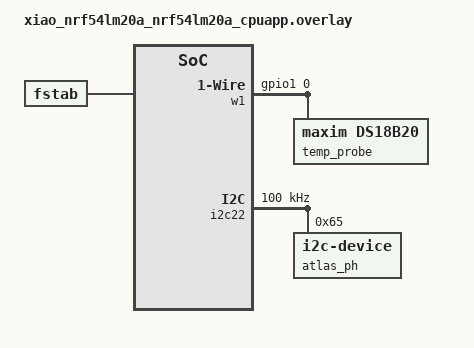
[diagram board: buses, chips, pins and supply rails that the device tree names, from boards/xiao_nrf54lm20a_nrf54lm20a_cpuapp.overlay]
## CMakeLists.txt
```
# Copyright (c) 2026 Brian Wischmeyer
# SPDX-License-Identifier: Apache-2.0

cmake_minimum_required(VERSION 3.20.0)

# Do not add a boards/<board>.overlay *and* rely on app.overlay: Zephyr's
# CMake stops after the boards overlay, so app.overlay is ignored. LittleFS
# fstab lives in boards/xiao_nrf54lm20a_nrf54lm20a_cpuapp.overlay.

find_package(Zephyr REQUIRED HINTS $ENV{ZEPHYR_BASE})
project(xiao_ph)

target_sources(app PRIVATE
  src/main.c
  src/credentials.c
  src/ble_peripheral.c
  src/fatal_error.c
  src/fw_update.c
  src/ph_oem.c
  src/temp_sensor.c
  src/battery.c
  src/bat_runtime.c
  src/status_led.c
  src/power_sleep.c
  src/golioth_ph.c
  src/ph_shell.c
)
```

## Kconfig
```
# Copyright (c) 2026 Brian Wischmeyer
# SPDX-License-Identifier: Apache-2.0

config NCS_APPLICATION_BOOT_BANNER_STRING
    string
    default "XIAO nRF54LM20A pH Sensor"

source "$ZEPHYR_BASE/Kconfig"

menu "XIAO nRF54LM20A pH Sensor"

config EXAMPLE_SYNC_PERIOD_S
    int "Gateway sync period (s)"
    default 30
    range 5 3600
    help
      After a sync (or a missed advertise window), keep the radio off this
      long before advertising again. A pH sample is taken and uplinked once
      per successful sync. Overridable at runtime by SAMPLE_INTERVAL_S.

config EXAMPLE_ADV_WINDOW_S
    int "Gateway advertise window (s)"
    default 15
    range 5 300
    help
      How long to advertise with sync_req set while looking for a Pouch
      gateway. If nothing connects, the radio stops and the node sleeps
      for EXAMPLE_SYNC_PERIOD_S.

config EXAMPLE_ADV_RETRIES
    int "Advertise retries after a failed connect"
    default 2
    range 0 8
    help
      Extra advertise windows after a connect that never reaches a Pouch
      session (bond mismatch, instant drop). 0 sleeps immediately.

config EXAMPLE_CREDENTIALS_DIR
    string "Directory containing credentials"
    default "/lfs1/credentials"
    help
      LittleFS directory holding the DER-encoded device certificate
      (crt.der) and private key (key.der).

config EXAMPLE_FW_UPDATE_COMPONENT
    string "OTA component name"
    default "xiao_ph"
    help
      Name of the component in the Golioth OTA manifest used for firmware
      updates on this device.

config APP_BT_AUTO_CONFIRM
    bool "Auto-confirm Just Works BLE pairing"
    default y
    help
      The XIAO nRF54LM20A has no dedicated confirm button, so by default the
      app auto-confirms the pairing passkey when a gateway connects.

config PH_OEM_I2C_ADDR
    hex "Atlas pH OEM I2C address"
    default 0x65
    help
      Default Atlas Scientific pH OEM address. Only used if the devicetree
      node is missing a reg property.

config PH_OEM_READ_TIMEOUT_MS
    int "pH conversion timeout (ms)"
    default 1500
    range 500 5000
    help
      Atlas conversions take ~420 ms. Poll the new-reading register until
      this timeout.

config PH_DEFAULT_TEMP_C
    int "Default compensation temperature (0.01 C)"
    default 2500
    help
      Used when no DS18B20 is present and TEMP_OVERRIDE_C is unset.
      2500 = 25.00 C.

config SAMPLE_PRINT
    bool "Print pH and battery on the serial console"
    default n
    help
      Periodic USB printk of Atlas pH and nPM1300 readings. Off by
      default so the node is not polling I2C/1-Wire while waiting for
      a Pouch sync. Toggle at runtime with "ph log on" / "ph log off".
      Stream uplink still samples once per gateway sync.

config SAMPLE_PRINT_PERIOD_S
    int "Local pH + battery print period (s)"
    default 5
    range 1 3600
    help
      How often to print Atlas pH and nPM1300 battery measurements on
      the serial console when local logging is enabled. Independent of
      Pouch/Golioth sync.

endmenu
```

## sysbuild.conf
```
# Copyright (c) 2026 Brian Wischmeyer
# SPDX-License-Identifier: Apache-2.0
#
# Build MCUboot alongside the app so Golioth OTA can swap firmware images.
SB_CONFIG_BOOTLOADER_MCUBOOT=y
```

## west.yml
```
# Copyright (c) 2026 Brian Wischmeyer
# SPDX-License-Identifier: Apache-2.0
#
# West manifest for the XIAO nRF54LM20A pH-sensor application.
#
# T3 topology: this repo is the manifest. Pouch's west-ncs.yml pulls the nRF
# Connect SDK at the revision Pouch v0.2.0 is tested against.
#
# From a directory that contains this folder:
#   west init -l xiao_ph
#   west update
#   west zephyr-export
#   pip install -r modules/lib/pouch/requirements.txt
#
# Or from inside this folder (standalone workspace):
#   west init -l .
#   west update
#   west zephyr-export
#   pip install -r modules/lib/pouch/requirements.txt

manifest:
  remotes:
    - name: golioth
      url-base: https://github.com/golioth

  projects:
    - name: pouch
      remote: golioth
      revision: v0.2.0
      path: modules/lib/pouch
      import: west-ncs.yml

  self:
    path: .
```

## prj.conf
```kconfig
# Copyright (c) 2026 Brian Wischmeyer
# SPDX-License-Identifier: Apache-2.0
#
# XIAO nRF54LM20A pH node: Atlas Scientific pH OEM over I2C, Golioth Pouch
# over BLE GATT.

# ---------------------------------------------------------------------------
# Bluetooth LE (Pouch transport is a BLE GATT peripheral)
# ---------------------------------------------------------------------------
CONFIG_BT=y
CONFIG_BT_SMP=y
CONFIG_BT_PERIPHERAL=y
CONFIG_BT_DEVICE_NAME="XIAO-pH"
CONFIG_BT_DEVICE_APPEARANCE=768

CONFIG_BT_BUF_ACL_TX_SIZE=251
CONFIG_BT_BUF_ACL_RX_SIZE=251
CONFIG_BT_L2CAP_TX_MTU=247
CONFIG_BT_CTLR_DATA_LENGTH_MAX=251
CONFIG_BT_CTLR_TX_PWR_PLUS_8=y
CONFIG_BT_RX_STACK_SIZE=4096

# Zephyr's default PPCP supervision timeout is 42 (420 ms). The gateway
# pairs, discovers Pouch GATT, then may sit idle while it fetches the
# server cert over LTE. 420 ms died in discovery; 4 s died in
# "Failed to provision server cert". 2000 = 20 s.
CONFIG_BT_PERIPHERAL_PREF_TIMEOUT=2000

# Match the official Pouch gateway (CONFIG_BT_GATT_CACHING=n) so the
# central always sees the live attribute table after a re-pair.
CONFIG_BT_GATT_CACHING=n

# pouch server_cert.c mallocs CONFIG_POUCH_SERVER_CERT_MAX_LEN (4096)
# when the gateway enables notify. COMMON_LIBC_MALLOC uses this pool.
CONFIG_HEAP_MEM_POOL_SIZE=16384

# Allow a gateway that lost its bonding info to re-pair. Prefer authenticated
# pairing in production. This board has no confirm button, so auto-confirm
# Just Works (CONFIG_APP_BT_AUTO_CONFIRM).
CONFIG_BT_SMP_ALLOW_UNAUTH_OVERWRITE=y

# ---------------------------------------------------------------------------
# Pouch + Golioth services
# ---------------------------------------------------------------------------
CONFIG_POUCH=y
CONFIG_POUCH_TRANSPORT_BLE_GATT=y

CONFIG_GOLIOTH=y
CONFIG_GOLIOTH_SETTINGS=y
CONFIG_GOLIOTH_OTA=y
CONFIG_EXAMPLE_SYNC_PERIOD_S=300
CONFIG_EXAMPLE_ADV_WINDOW_S=15
CONFIG_EXAMPLE_ADV_RETRIES=1

# CPU idle + TWIM22 suspend between syncs. Radio is stopped in software.
CONFIG_PM=y
CONFIG_PM_DEVICE=y

# ---------------------------------------------------------------------------
# Crypto / TLS (device authenticates to Golioth with an X.509 cert + key)
# ---------------------------------------------------------------------------
CONFIG_MBEDTLS_HEAP_SIZE=9192
# Implied by BT_SMP but breaks secp384r1 support used by the device cert.
CONFIG_MBEDTLS_PSA_P256M_DRIVER_ENABLED=n
# Trim ROM.
CONFIG_MBEDTLS_PKCS5_C=n

# ---------------------------------------------------------------------------
# I2C (Atlas pH OEM on TWIM22 / D4-D5) + GPIO + 1-Wire (DS18B20 on D0)
# ---------------------------------------------------------------------------
CONFIG_I2C=y
CONFIG_I2C_SHELL=y
CONFIG_GPIO=y
CONFIG_PWM=y
CONFIG_REQUIRES_FLOAT_PRINTF=y
CONFIG_PRINTK=y
CONFIG_W1=y
CONFIG_W1_SHELL=y
CONFIG_W1_ZEPHYR_GPIO=y
CONFIG_SENSOR=y
CONFIG_DS18B20=y
CONFIG_SENSOR_SHELL=y

# ---------------------------------------------------------------------------
# Logging / misc
# ---------------------------------------------------------------------------
CONFIG_LOG=y
# printk() must hit the UART directly. With LOG_PRINTK, boot/Pouch lines
# go through deferred logging and disappear when CMSIS-DAP flash drops COM11.
CONFIG_LOG_PRINTK=n
CONFIG_ZCBOR=y
CONFIG_REBOOT=y
CONFIG_SHELL=y
CONFIG_MAIN_STACK_SIZE=4096
CONFIG_CBPRINTF_FP_SUPPORT=y

# ---------------------------------------------------------------------------
# Filesystem — device certificate + private key live in LittleFS,
# provisioned over serial with MCUmgr / smpmgr.
# ---------------------------------------------------------------------------
CONFIG_FLASH=y
CONFIG_FLASH_MAP=y
CONFIG_FILE_SYSTEM=y
CONFIG_FILE_SYSTEM_LITTLEFS=y
CONFIG_FILE_SYSTEM_SHELL=y
CONFIG_STREAM_FLASH=y
CONFIG_IMG_MANAGER=y
CONFIG_IMG_ERASE_PROGRESSIVELY=y

# ---------------------------------------------------------------------------
# MCUmgr / SMP over the serial console
# ---------------------------------------------------------------------------
CONFIG_MCUMGR=y
CONFIG_CONSOLE=y
CONFIG_UART_CONSOLE=y
CONFIG_UART_CONSOLE_MCUMGR=y
CONFIG_BASE64=y
CONFIG_CRC=y
CONFIG_MCUMGR_TRANSPORT_SHELL=y
CONFIG_MCUMGR_GRP_OS=y
CONFIG_MCUMGR_GRP_OS_MCUMGR_PARAMS=y
CONFIG_MCUMGR_GRP_FS=y
CONFIG_MCUMGR_MGMT_NOTIFICATION_HOOKS=y
CONFIG_MCUMGR_GRP_FS_FILE_ACCESS_HOOK=y

# smpmgr queries buf_size then sends packets that large. SHELL_MTU must
# match NETBUF or the first FS write is rejected as EMSGSIZE.
CONFIG_MCUMGR_TRANSPORT_NETBUF_SIZE=384
CONFIG_MCUMGR_TRANSPORT_SHELL_MTU=384
CONFIG_SHELL_BACKEND_SERIAL_RX_RING_BUFFER_SIZE=512
CONFIG_SHELL_CMD_BUFF_SIZE=512

# Nested "err" maps in FS upload failures need more than the default
# single encoding level (especially with ZCBOR_CANONICAL).
CONFIG_MCUMGR_SMP_CBOR_MAX_ENCODING_LEVELS=3
```

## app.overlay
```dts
/*
 * Copyright (c) 2026 Brian Wischmeyer
 * SPDX-License-Identifier: Apache-2.0
 *
 * Intentionally empty. Zephyr's CMake picks boards/<board>.overlay and
 * then skips this file. LittleFS, partitions, and pins are in
 * boards/xiao_nrf54lm20a_nrf54lm20a_cpuapp.overlay.
 */
```

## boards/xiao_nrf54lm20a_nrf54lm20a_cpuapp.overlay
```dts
/*
 * Copyright (c) 2026 Brian Wischmeyer
 * SPDX-License-Identifier: Apache-2.0
 *
 * Pin mapping for the custom ph_sensor PCB (KiCad: ph_sensor.kicad_pcb).
 *
 *   Atlas pH OEM I2C  -> D4/D5  P1.3/P1.7  TWIM22  (via ADuM1250 isolator)
 *   DS18B20 1-Wire    -> D0     P1.0       TEMP_DQ (J2, 4.7k pull-up R6)
 *
 * Atlas INT is isolated-side only (J5 / INT_ISO) and is not connected to the
 * nRF. The driver polls register 0x07.
 *
 * Atlas max I2C clock is 100 kHz. The board default for i2c22 is 400 kHz.
 */

#include <zephyr/dt-bindings/gpio/gpio.h>
#include <zephyr/dt-bindings/i2c/i2c.h>

/*
 * Seeed's stock layout uses 449 KiB slots, which is not a multiple of the
 * 4 KiB RRAM erase block, so MCUboot refuses to configure. Drop the unused
 * TF-M non-secure slots and align image + storage partitions.
 */
/delete-node/ &slot0_ns_partition;
/delete-node/ &slot1_ns_partition;

&slot0_partition {
	reg = <0x10000 DT_SIZE_K(704)>;
};

&slot1_partition {
	reg = <0xc0000 DT_SIZE_K(704)>;
};

&storage_partition {
	reg = <0x170000 DT_SIZE_K(64)>;
};

&i2c22 {
	status = "okay";
	clock-frequency = <I2C_BITRATE_STANDARD>;

	atlas_ph: atlas-ph@65 {
		compatible = "i2c-device";
		reg = <0x65>;
		status = "okay";
	};
};

/ {
	w1: w1 {
		compatible = "zephyr,w1-gpio";
		gpios = <&gpio1 0 (GPIO_ACTIVE_HIGH | GPIO_OPEN_DRAIN | GPIO_PULL_UP)>;
		status = "okay";

		temp_probe: ds18b20 {
			compatible = "maxim,ds18b20";
			family-code = <0x28>;
			resolution = <12>;
			status = "okay";
		};
	};

	aliases {
		ds18b20 = &temp_probe;
	};

	/*
	 * Must live in this overlay (not app.overlay). Zephyr stops looking
	 * for app.overlay once boards/<board>.overlay exists, so LittleFS
	 * never mounted and smpmgr file upload failed with EMSGSIZE.
	 */
	fstab {
		compatible = "zephyr,fstab";
		lfs1: lfs1 {
			compatible = "zephyr,fstab,littlefs";
			mount-point = "/lfs1";
			partition = <&storage_partition>;
			automount;
			read-size = <16>;
			prog-size = <16>;
			cache-size = <64>;
			lookahead-size = <32>;
			block-cycles = <512>;
		};
	};
};
```

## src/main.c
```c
/*
 * Copyright (c) 2026 Brian Wischmeyer
 * SPDX-License-Identifier: Apache-2.0
 *
 * XIAO nRF54LM20A pH node.
 *
 *   - Atlas Scientific pH OEM on isolated I2C (D4/D5)
 *   - Optional DS18B20 temperature on D0 (J2)
 *   - nPM1300 battery voltage / current / charge status
 *   - Stream `.s/ph` to Golioth on each Pouch/BLE gateway sync
 */

#include <zephyr/kernel.h>
#include <zephyr/logging/log.h>
#include <zephyr/sys/printk.h>

LOG_MODULE_REGISTER(main);

#include "credentials.h"
#include "ble_peripheral.h"
#include "ph_oem.h"
#include "temp_sensor.h"
#include "battery.h"
#include "bat_runtime.h"
#include "status_led.h"
#include "golioth_ph.h"
#include "sample_print.h"

#include <pouch/pouch.h>
#include <pouch/transport/bluetooth/gatt.h>

#include <app_version.h>

#define SAMPLE_STACK_SIZE 2048

static K_THREAD_STACK_DEFINE(sample_stack, SAMPLE_STACK_SIZE);
static struct k_thread sample_thread;
static bool sample_print_enabled = IS_ENABLED(CONFIG_SAMPLE_PRINT);
static bool sample_print_paused;

void sample_print_enable(bool on)
{
    sample_print_enabled = on;
}

bool sample_print_is_enabled(void)
{
    return sample_print_enabled;
}

void sample_print_pause(bool pause)
{
    sample_print_paused = pause;
}

static float sample_temp_c(void)
{
    float t;

    if (temp_sensor_read_c(&t) == 0) {
        return t;
    }
    return CONFIG_PH_DEFAULT_TEMP_C / 100.0f;
}

static void print_sample(void)
{
    float temp_c = sample_temp_c();
    struct ph_oem_sample ph = {0};
    struct battery_sample bat = {0};

    if (ph_oem_is_ready()) {
        int err = ph_oem_read(temp_c, &ph);
        if (err) {
            printk("ph: read failed (err %d)  temp=%.2f C\n", err, (double)temp_c);
        } else {
            printk("ph: %.3f  %.2f mV  %.2f C  cal=0x%02x\n",
                   (double)ph.ph, (double)ph.mv, (double)ph.temp_c, ph.cal_bits);
        }
    } else {
        printk("ph: OEM not found  temp=%.2f C\n", (double)temp_c);
    }

    if (battery_is_ready() && battery_read(&bat) == 0) {
        printk("bat: %.3f V  %.1f mA  %.1f C  die=%.1f C  VBUS=%s  %s  chg_stat=0x%02x err=0x%02x\n",
               (double)bat.voltage_v, (double)bat.current_ma, (double)bat.temp_c,
               (double)bat.die_c, bat.vbus ? "yes" : "no", bat.status,
               bat.chg_stat, bat.err);
    } else {
        printk("bat: nPM1300 not ready\n");
    }
}

static void sample_loop(void *p1, void *p2, void *p3)
{
    ARG_UNUSED(p1);
    ARG_UNUSED(p2);
    ARG_UNUSED(p3);

    while (1) {
        if (sample_print_enabled && !sample_print_paused) {
            print_sample();
        }
        k_sleep(K_SECONDS(CONFIG_SAMPLE_PRINT_PERIOD_S));
    }
}

static int setup_pouch(void)
{
    struct pouch_config config = {0};

    int err = load_certificate(&config.certificate);
    if (err) {
        LOG_ERR("Failed to load certificate (err %d)", err);
        return err;
    }

    config.private_key = load_private_key();
    if (config.private_key == PSA_KEY_ID_NULL) {
        LOG_ERR("Failed to load private key");
        return -ENOENT;
    }

    LOG_INF("Credentials loaded");

    err = pouch_init(&config);
    if (err) {
        LOG_ERR("Pouch init failed (err %d)", err);
        return err;
    }

    LOG_INF("Pouch initialized");
    return 0;
}

int main(void)
{
    printk("\n*** xiao_ph boot  pouch-log enabled ***\n");
    LOG_INF("XIAO nRF54LM20A pH — Pouch/BLE");
    LOG_INF("App version: " STRINGIFY(APP_BUILD_VERSION));
    LOG_INF("Pouch protocol %d, BLE transport %d", POUCH_VERSION, POUCH_GATT_VERSION);

    int err = ph_oem_init();
    if (err) {
        LOG_WRN("pH OEM init failed (err %d) — advertising anyway", err);
    }

    err = temp_sensor_init();
    if (err) {
        LOG_INF("No DS18B20; compensation uses default or TEMP_OVERRIDE_C");
    }

    err = battery_init();
    if (err) {
        LOG_WRN("nPM1300 init failed (err %d) — pH print continues", err);
    }
    bat_runtime_init();

    err = status_led_init();
    if (err) {
        LOG_WRN("RGB LED init failed (err %d)", err);
    }

    k_thread_create(&sample_thread, sample_stack, SAMPLE_STACK_SIZE,
                    sample_loop, NULL, NULL, NULL,
                    K_PRIO_PREEMPT(8), 0, K_NO_WAIT);
    k_thread_name_set(&sample_thread, "sample");

    (void)golioth_ph_init();

    err = credentials_prepare();
    if (err) {
        LOG_WRN("LittleFS credentials dir not ready (err %d) — "
                "smpmgr upload will fail until /lfs1 is mounted", err);
    }

    err = ble_peripheral_init();
    if (err) {
        return err;
    }

    err = setup_pouch();
    if (err) {
        printk("pouch: not started (err %d) — upload crt.der/key.der then reboot\n",
               err);
        LOG_WRN("Pouch not started (err %d) — serial still works; "
                "upload crt.der/key.der then reboot", err);
    } else {
        printk("pouch: ready, advertising as %s for %u s\n",
               CONFIG_BT_DEVICE_NAME, CONFIG_EXAMPLE_ADV_WINDOW_S);
        printk("local 5s log %s (ph log on|off)\n",
               sample_print_enabled ? "on" : "off");
    }

    err = ble_peripheral_start();
    if (err) {
        return err;
    }

    LOG_INF("Advertising started as %s (sync requested, %u s window)",
            CONFIG_BT_DEVICE_NAME, CONFIG_EXAMPLE_ADV_WINDOW_S);

    return 0;
}
```

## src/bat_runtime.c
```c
#include "bat_runtime.h"

#include "battery.h"

#include <stdio.h>
#include <stdlib.h>
#include <zephyr/fs/fs.h>
#include <zephyr/kernel.h>
#include <zephyr/logging/log.h>
#include <zephyr/sys/printk.h>

LOG_MODULE_REGISTER(bat_runtime);

#define RUN_PATH "/lfs1/bat_run.txt"
#define POLL_USB_S 5
#define POLL_BAT_S 60

static bool vbus_known;
static bool vbus_on;
static bool on_battery;
static int64_t unplug_ms;
static uint32_t last_saved_s;

static void poll_work_handler(struct k_work *work);
K_WORK_DELAYABLE_DEFINE(poll_work, poll_work_handler);

static uint32_t elapsed_s(void)
{
    if (!on_battery) {
        return 0;
    }

    int64_t ms = k_uptime_get() - unplug_ms;

    if (ms < 0) {
        return 0;
    }
    return (uint32_t)(ms / 1000);
}

static void persist(bool running, uint32_t secs, int v_mv)
{
    struct fs_file_t file;
    char line[48];
    int len = snprintf(line, sizeof(line), "%u %u %d\n",
                       running ? 1U : 0U, secs, v_mv);

    if (len <= 0) {
        return;
    }

    fs_file_t_init(&file);
    int err = fs_open(&file, RUN_PATH, FS_O_CREATE | FS_O_WRITE);
    if (err) {
        LOG_WRN("bat_run write open failed (err %d)", err);
        return;
    }

    (void)fs_seek(&file, 0, FS_SEEK_SET);
    (void)fs_truncate(&file, 0);
    (void)fs_write(&file, line, (size_t)len);
    fs_close(&file);
    last_saved_s = secs;
}

static void load_previous(void)
{
    struct fs_file_t file;
    char buf[48];
    unsigned running = 0;
    unsigned secs = 0;
    int v_mv = 0;

    fs_file_t_init(&file);
    int err = fs_open(&file, RUN_PATH, FS_O_READ);
    if (err) {
        return;
    }

    ssize_t n = fs_read(&file, buf, sizeof(buf) - 1);
    fs_close(&file);
    if (n <= 0) {
        return;
    }
    buf[n] = '\0';

    char *end = buf;

    running = (unsigned)strtoul(end, &end, 10);
    secs = (unsigned)strtoul(end, &end, 10);
    v_mv = (int)strtol(end, &end, 10);

    if (running && secs > 0) {
        printk("bat: last USB-unplugged run was at least %u s (%u min) @ %d mV"
               " — reset or pack died\n",
               secs, secs / 60, v_mv);
        LOG_INF("Previous battery run >= %u s at %d mV", secs, v_mv);
    } else if (secs > 0) {
        printk("bat: last USB-unplugged run lasted %u s (%u min)\n",
               secs, secs / 60);
    }
}

static void schedule_poll(void)
{
    uint32_t s = vbus_on ? POLL_USB_S : POLL_BAT_S;

    k_work_schedule(&poll_work, K_SECONDS(s));
}

static void handle_sample(const struct battery_sample *bat)
{
    const int v_mv = (int)(bat->voltage_v * 1000.0f + 0.5f);

    if (!vbus_known) {
        vbus_known = true;
        vbus_on = bat->vbus;
        if (!bat->vbus) {
            on_battery = true;
            unplug_ms = k_uptime_get();
            printk("bat: boot on battery  %.3f V\n", (double)bat->voltage_v);
            persist(true, 0, v_mv);
        } else {
            printk("bat: USB present  %.3f V\n", (double)bat->voltage_v);
        }
        schedule_poll();
        return;
    }

    if (vbus_on && !bat->vbus) {
        on_battery = true;
        unplug_ms = k_uptime_get();
        last_saved_s = 0;
        printk("bat: USB unplugged  running on battery  %.3f V\n",
               (double)bat->voltage_v);
        LOG_INF("USB unplugged, on battery %.3f V", (double)bat->voltage_v);
        persist(true, 0, v_mv);
    } else if (!vbus_on && bat->vbus) {
        uint32_t secs = elapsed_s();

        printk("bat: USB back  ran %u s (%u min %u s)  %.3f V\n",
               secs, secs / 60, secs % 60, (double)bat->voltage_v);
        LOG_INF("USB back after %u s", secs);
        persist(false, secs, v_mv);
        on_battery = false;
    } else if (on_battery) {
        uint32_t secs = elapsed_s();

        if (secs >= last_saved_s + POLL_BAT_S) {
            persist(true, secs, v_mv);
            printk("bat: on battery %u s (%u min)  %.3f V\n",
                   secs, secs / 60, (double)bat->voltage_v);
        }
    }

    vbus_on = bat->vbus;
    schedule_poll();
}

static void poll_work_handler(struct k_work *work)
{
    ARG_UNUSED(work);
    bat_runtime_poll();
}

void bat_runtime_poll(void)
{
    struct battery_sample bat = {0};

    if (!battery_is_ready() || battery_read(&bat) != 0) {
        schedule_poll();
        return;
    }

    handle_sample(&bat);
}

uint32_t bat_runtime_on_bat_s(void)
{
    return elapsed_s();
}

void bat_runtime_init(void)
{
    load_previous();

    if (battery_is_ready()) {
        bat_runtime_poll();
    } else {
        k_work_schedule(&poll_work, K_SECONDS(POLL_USB_S));
    }
}
```

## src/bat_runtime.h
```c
#pragma once

#include <stdint.h>

void bat_runtime_init(void);

/** Read VBUS, handle plug/unplug, persist while on battery. */
void bat_runtime_poll(void);

/** Seconds since USB was unplugged, or 0 if VBUS is present. */
uint32_t bat_runtime_on_bat_s(void);
```

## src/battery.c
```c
/*
 * Copyright (c) 2026 Brian Wischmeyer
 * SPDX-License-Identifier: Apache-2.0
 *
 * nPM1300 VBAT / IBAT / NTC / VBUS via the onboard gpio-i2c PMIC bus
 * (P1.18 SDA, P1.17 SCL), matching Seeed's zephyr-battery sample.
 */

#include "battery.h"
#include "bat_runtime.h"

#include <zephyr/device.h>
#include <zephyr/devicetree.h>
#include <zephyr/drivers/sensor.h>
#include <zephyr/drivers/sensor/npm13xx_charger.h>
#include <zephyr/kernel.h>
#include <zephyr/logging/log.h>
#include <zephyr/shell/shell.h>

LOG_MODULE_REGISTER(battery, CONFIG_LOG_DEFAULT_LEVEL);

#define CHARGER_NODE DT_NODELABEL(pmic_charger)

#if !DT_NODE_HAS_STATUS(CHARGER_NODE, okay)
#error "nPM1300 charger node pmic_charger is missing from the board DTS"
#endif

#define NPM13XX_CHG_STATUS_COMPLETE_MASK  BIT(1)
#define NPM13XX_CHG_STATUS_TRICKLE_MASK   BIT(2)
#define NPM13XX_CHG_STATUS_CC_MASK        BIT(3)
#define NPM13XX_CHG_STATUS_CV_MASK        BIT(4)
#define NPM13XX_CHG_STATUS_RECHARGE_MASK  BIT(5)
#define NPM13XX_CHG_STATUS_DIETEMP_MASK   BIT(6)
#define NPM13XX_CHG_STATUS_SUPPLEMENT_MASK BIT(7)

static const struct device *const charger = DEVICE_DT_GET(CHARGER_NODE);
static bool charger_ready;

static const char *charge_status_str(int32_t chg_status)
{
    if (chg_status & NPM13XX_CHG_STATUS_COMPLETE_MASK) {
        return "complete";
    }
    if (chg_status & NPM13XX_CHG_STATUS_TRICKLE_MASK) {
        return "trickle";
    }
    if (chg_status & NPM13XX_CHG_STATUS_CC_MASK) {
        return "cc";
    }
    if (chg_status & NPM13XX_CHG_STATUS_CV_MASK) {
        return "cv";
    }
    if (chg_status & NPM13XX_CHG_STATUS_DIETEMP_MASK) {
        return "paused";
    }
    if (chg_status & NPM13XX_CHG_STATUS_RECHARGE_MASK) {
        return "recharge";
    }
    if (chg_status & NPM13XX_CHG_STATUS_SUPPLEMENT_MASK) {
        return "supplement";
    }
    return "idle";
}

static int read_sensors(struct battery_sample *out)
{
    struct sensor_value value;
    int ret;

    ret = sensor_sample_fetch(charger);
    if (ret < 0) {
        return ret;
    }

    ret = sensor_channel_get(charger, SENSOR_CHAN_GAUGE_VOLTAGE, &value);
    if (ret < 0) {
        return ret;
    }
    out->voltage_v = (float)value.val1 + ((float)value.val2 / 1000000.0f);

    ret = sensor_channel_get(charger, SENSOR_CHAN_GAUGE_TEMP, &value);
    if (ret < 0) {
        return ret;
    }
    out->temp_c = (float)value.val1 + ((float)value.val2 / 1000000.0f);

    ret = sensor_channel_get(charger, SENSOR_CHAN_GAUGE_AVG_CURRENT, &value);
    if (ret < 0) {
        return ret;
    }
    out->current_ma =
        ((float)value.val1 + ((float)value.val2 / 1000000.0f)) * 1000.0f;

    ret = sensor_channel_get(charger, SENSOR_CHAN_NPM13XX_CHARGER_STATUS, &value);
    if (ret < 0) {
        return ret;
    }
    out->chg_stat = (uint8_t)value.val1;
    out->status = charge_status_str(value.val1);

    ret = sensor_channel_get(charger, SENSOR_CHAN_NPM13XX_CHARGER_ERROR, &value);
    if (ret < 0) {
        out->err = 0;
    } else {
        out->err = (uint8_t)value.val1;
    }

    ret = sensor_channel_get(charger, SENSOR_CHAN_DIE_TEMP, &value);
    if (ret < 0) {
        out->die_c = 0.0f;
    } else {
        out->die_c = (float)value.val1 + ((float)value.val2 / 1000000.0f);
    }

    ret = sensor_attr_get(charger,
                          (enum sensor_channel)SENSOR_CHAN_NPM13XX_CHARGER_VBUS_STATUS,
                          (enum sensor_attribute)SENSOR_ATTR_NPM13XX_CHARGER_VBUS_PRESENT,
                          &value);
    if (ret < 0) {
        out->vbus = false;
    } else {
        out->vbus = value.val1 != 0;
    }

    out->valid = true;
    return 0;
}

int battery_init(void)
{
    charger_ready = false;

    if (!device_is_ready(charger)) {
        LOG_ERR("nPM1300 charger not ready");
        return -ENODEV;
    }

    struct battery_sample sample = {0};
    int err = read_sensors(&sample);
    if (err) {
        LOG_ERR("nPM1300 first read failed (err %d)", err);
        return err;
    }

    charger_ready = true;
    LOG_INF("nPM1300 ready  V=%.3f I=%.1f mA T=%.1f C die=%.1f C VBUS=%s %s chg_stat=0x%02x err=0x%02x",
            (double)sample.voltage_v, (double)sample.current_ma,
            (double)sample.temp_c, (double)sample.die_c,
            sample.vbus ? "yes" : "no", sample.status,
            sample.chg_stat, sample.err);
    return 0;
}

bool battery_is_ready(void)
{
    return charger_ready;
}

int battery_read(struct battery_sample *out)
{
    if (!out) {
        return -EINVAL;
    }

    *out = (struct battery_sample){0};

    if (!charger_ready) {
        return -ENODEV;
    }

    return read_sensors(out);
}

static int cmd_bat_read(const struct shell *sh, size_t argc, char **argv)
{
    ARG_UNUSED(argc);
    ARG_UNUSED(argv);

    struct battery_sample sample;
    int err = battery_read(&sample);
    if (err) {
        shell_error(sh, "battery read failed (err %d)", err);
        return err;
    }

    shell_print(sh, "V=%.3f I=%.1f mA T=%.1f C die=%.1f C VBUS=%s status=%s "
                "chg_stat=0x%02x err=0x%02x on_bat_s=%u",
                (double)sample.voltage_v, (double)sample.current_ma,
                (double)sample.temp_c, (double)sample.die_c,
                sample.vbus ? "yes" : "no", sample.status,
                sample.chg_stat, sample.err, bat_runtime_on_bat_s());
    return 0;
}

SHELL_CMD_REGISTER(bat, NULL, "Read nPM1300 battery", cmd_bat_read);
```

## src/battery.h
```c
/*
 * Copyright (c) 2026 Brian Wischmeyer
 * SPDX-License-Identifier: Apache-2.0
 *
 * nPM1300 charger measurements (same path as Seeed's XIAO battery sample).
 */
#pragma once

#include <stdbool.h>
#include <stdint.h>

struct battery_sample {
    float voltage_v;
    float current_ma;
    float temp_c;
    float die_c;
    bool vbus;
    const char *status;
    uint8_t chg_stat;
    uint8_t err;
    bool valid;
};

int battery_init(void);

bool battery_is_ready(void);

int battery_read(struct battery_sample *out);
```

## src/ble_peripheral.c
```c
/*
 * Copyright (c) 2026 Golioth, Inc.
 * Copyright (c) 2026 Brian Wischmeyer
 *
 * SPDX-License-Identifier: Apache-2.0
 *
 * BLE peripheral for the Pouch GATT transport. Advertises only when a
 * sync is due, then sleeps with the radio off until the next interval.
 */

#include <zephyr/logging/log.h>
LOG_MODULE_REGISTER(ble_peripheral);

#include "ble_peripheral.h"
#include "power_sleep.h"
#include "status_led.h"

#include <stdio.h>
#include <zephyr/bluetooth/bluetooth.h>
#include <zephyr/bluetooth/conn.h>
#include <zephyr/bluetooth/uuid.h>
#include <zephyr/sys/printk.h>

#include <pouch/transport/bluetooth/gatt.h>
#include <pouch/types.h>

#define STATUS_PERIOD_S 10

static struct bt_conn *default_conn;
static uint32_t sync_period_s = CONFIG_EXAMPLE_SYNC_PERIOD_S;
static bool conn_sync_ok;
static uint8_t bounce_retries;
static bool bounce_pending;

static struct pouch_gatt_adv service_data = POUCH_GATT_ADV_DATA_INIT;

struct pouch_gatt_adv_128 {
    uint8_t uuid[16];
    struct pouch_gatt_adv_data payload;
} __packed;

static struct pouch_gatt_adv_128 service_data_128 = {
    .uuid = {BT_UUID_128_ENCODE(0x89a316ae, 0x89b7, 0x4ef6, 0xb1d3, 0x5c9a6e27d272)},
    .payload = {
        .version = (POUCH_VERSION << POUCH_GATT_ADV_VERSION_POUCH_SHIFT)
            | (POUCH_GATT_VERSION << POUCH_GATT_ADV_VERSION_SELF_SHIFT),
        .flags = 0x0,
    },
};

/* Name goes in the scan response so both 16- and 128-bit service data fit. */
static struct bt_data ad[] = {
    BT_DATA_BYTES(BT_DATA_FLAGS, (BT_LE_AD_GENERAL | BT_LE_AD_NO_BREDR)),
    BT_DATA(BT_DATA_SVC_DATA16, &service_data, sizeof(service_data)),
    BT_DATA(BT_DATA_SVC_DATA128, &service_data_128, sizeof(service_data_128)),
};

static struct bt_data sd[] = {
    BT_DATA(BT_DATA_NAME_COMPLETE, CONFIG_BT_DEVICE_NAME, sizeof(CONFIG_BT_DEVICE_NAME) - 1),
};

static bool sync_requested(void)
{
    return (service_data.payload.flags & POUCH_GATT_ADV_FLAG_SYNC_REQUEST) != 0;
}

static void peer_str(struct bt_conn *conn, char *buf, size_t len)
{
    bt_addr_le_to_str(bt_conn_get_dst(conn), buf, len);
}

static void status_work_handler(struct k_work *work);
static void sleep_wake_work_handler(struct k_work *work);
static void adv_timeout_work_handler(struct k_work *work);
static void bounce_work_handler(struct k_work *work);

K_WORK_DELAYABLE_DEFINE(status_work, status_work_handler);
K_WORK_DELAYABLE_DEFINE(sleep_wake_work, sleep_wake_work_handler);
K_WORK_DELAYABLE_DEFINE(adv_timeout_work, adv_timeout_work_handler);
K_WORK_DEFINE(bounce_work, bounce_work_handler);

static void status_work_handler(struct k_work *work)
{
    ARG_UNUSED(work);

    if (default_conn) {
        return;
    }

    printk("pouch: waiting  name=%s  sync_req=%d  uuid=0x%04x\n",
           CONFIG_BT_DEVICE_NAME, (int)sync_requested(), POUCH_GATT_UUID_SVC_VAL_16);
    k_work_schedule(&status_work, K_SECONDS(STATUS_PERIOD_S));
}

static void ble_adv_stop(void)
{
    k_work_cancel_delayable(&status_work);
    k_work_cancel_delayable(&adv_timeout_work);
    k_work_cancel_delayable(&sleep_wake_work);

    int err = bt_le_adv_stop();
    if (err && err != -EALREADY) {
        printk("pouch: advertising stop failed (err %d)\n", err);
        LOG_WRN("Advertising stop failed (err %d)", err);
    }
}

static void schedule_sleep(void)
{
    bounce_retries = 0;
    bounce_pending = false;
    ble_adv_stop();
    status_led_off();
    power_sleep_enter();
    printk("pouch: sleeping %u s (radio off)\n", sync_period_s);
    LOG_INF("Sleeping %u s with radio off", sync_period_s);
    k_work_schedule(&sleep_wake_work, K_SECONDS(sync_period_s));
}

static void sleep_wake_work_handler(struct k_work *work)
{
    ARG_UNUSED(work);

    power_sleep_exit();
    printk("pouch: waking\n");
    LOG_INF("Waking for gateway sync");
    int err = ble_peripheral_start();
    if (err) {
        printk("pouch: advertising start failed (err %d), sleep again\n", err);
        schedule_sleep();
    }
}

static void adv_timeout_work_handler(struct k_work *work)
{
    ARG_UNUSED(work);

    if (default_conn) {
        return;
    }

    printk("pouch: no gateway in %u s, sleeping\n", CONFIG_EXAMPLE_ADV_WINDOW_S);
    LOG_INF("Advertise window expired, sleeping");
    schedule_sleep();
}

static void bounce_work_handler(struct k_work *work)
{
    ARG_UNUSED(work);

    int err = ble_peripheral_start();
    if (err) {
        printk("pouch: bounce advertise failed (err %d), sleeping\n", err);
        bounce_retries = 0;
        schedule_sleep();
    }
}

static void recycled(void)
{
    if (!bounce_pending) {
        return;
    }

    bounce_pending = false;
    printk("pouch: conn recycled, retry advertise %u/%u\n",
           bounce_retries, CONFIG_EXAMPLE_ADV_RETRIES);
    LOG_INF("Connection recycled, retry advertise %u/%u",
            bounce_retries, CONFIG_EXAMPLE_ADV_RETRIES);
    k_work_submit(&bounce_work);
}

static void connected(struct bt_conn *conn, uint8_t err)
{
    char addr[BT_ADDR_LE_STR_LEN];

    peer_str(conn, addr, sizeof(addr));
    if (err) {
        printk("pouch: BLE connect failed from %s (err 0x%02x)\n", addr, err);
        LOG_WRN("Connection failed from %s (err 0x%02x)", addr, err);
        return;
    }

    if (default_conn) {
        bt_conn_unref(default_conn);
    }
    default_conn = bt_conn_ref(conn);
    conn_sync_ok = false;
    k_work_cancel_delayable(&adv_timeout_work);
    k_work_cancel_delayable(&status_work);
    status_led_on();
    printk("pouch: BLE connected  peer=%s\n", addr);
    LOG_INF("Gateway connected %s", addr);
}

void ble_peripheral_mark_sync_ok(void)
{
    conn_sync_ok = true;
    bounce_retries = 0;
    bounce_pending = false;
}

static void disconnected(struct bt_conn *conn, uint8_t reason)
{
    char addr[BT_ADDR_LE_STR_LEN];

    peer_str(conn, addr, sizeof(addr));
    printk("pouch: BLE disconnected  peer=%s  reason=0x%02x\n", addr, reason);
    LOG_INF("Gateway disconnected %s (reason 0x%02x)", addr, reason);

    if (default_conn) {
        bt_conn_unref(default_conn);
        default_conn = NULL;
    }
    status_led_off();

    if (conn_sync_ok) {
        bounce_retries = 0;
        schedule_sleep();
        return;
    }

    if (bounce_retries < CONFIG_EXAMPLE_ADV_RETRIES) {
        bounce_retries++;
        bounce_pending = true;
        printk("pouch: bounce, wait for conn recycle %u/%u\n",
               bounce_retries, CONFIG_EXAMPLE_ADV_RETRIES);
        LOG_INF("Retry advertise after recycle %u/%u",
                bounce_retries, CONFIG_EXAMPLE_ADV_RETRIES);
        return;
    }

    printk("pouch: bounce retries exhausted, sleeping\n");
    LOG_INF("Bounce retries exhausted, sleeping");
    bounce_retries = 0;
    schedule_sleep();
}

static void security_changed(struct bt_conn *conn, bt_security_t level, enum bt_security_err err)
{
    char addr[BT_ADDR_LE_STR_LEN];

    peer_str(conn, addr, sizeof(addr));
    if (err) {
        printk("pouch: pairing failed  peer=%s  err=%d\n", addr, (int)err);
        LOG_WRN("Security failed for %s (err %d)", addr, err);
        return;
    }

    printk("pouch: pairing ok  peer=%s  level=%d\n", addr, (int)level);
    LOG_INF("Security changed %s level %d", addr, level);
}

BT_CONN_CB_DEFINE(conn_callbacks) = {
    .connected = connected,
    .disconnected = disconnected,
    .security_changed = security_changed,
    .recycled = recycled,
};

static void auth_passkey_display(struct bt_conn *conn, unsigned int passkey)
{
    char addr[BT_ADDR_LE_STR_LEN];
    char passkey_str[7];

    peer_str(conn, addr, sizeof(addr));
    (void)snprintf(passkey_str, sizeof(passkey_str), "%06u", passkey);
    printk("pouch: passkey for %s: %s\n", addr, passkey_str);
    LOG_INF("Passkey for %s: %s", addr, passkey_str);
}

static void auth_passkey_confirm(struct bt_conn *conn, unsigned int passkey)
{
    char addr[BT_ADDR_LE_STR_LEN];
    char passkey_str[7];

    peer_str(conn, addr, sizeof(addr));
    (void)snprintf(passkey_str, sizeof(passkey_str), "%06u", passkey);
    printk("pouch: confirm passkey for %s: %s\n", addr, passkey_str);
    LOG_INF("Confirm passkey for %s: %s", addr, passkey_str);

    if (IS_ENABLED(CONFIG_APP_BT_AUTO_CONFIRM)) {
        printk("pouch: auto-confirming passkey\n");
        LOG_INF("Auto-confirming passkey (CONFIG_APP_BT_AUTO_CONFIRM)");
        bt_conn_auth_passkey_confirm(conn);
    }
}

static void auth_cancel(struct bt_conn *conn)
{
    char addr[BT_ADDR_LE_STR_LEN];

    peer_str(conn, addr, sizeof(addr));
    printk("pouch: pairing cancelled  peer=%s\n", addr);
    LOG_INF("Pairing cancelled: %s", addr);
}

static struct bt_conn_auth_cb auth_cb_display = {
    .passkey_display = auth_passkey_display,
    .passkey_confirm = auth_passkey_confirm,
    .cancel = auth_cancel,
};

void ble_peripheral_set_sync_period_s(uint32_t seconds)
{
    if (seconds < 5) {
        seconds = 5;
    }
    if (seconds > 3600) {
        seconds = 3600;
    }
    sync_period_s = seconds;
    printk("pouch: sync period %u s\n", sync_period_s);
    LOG_INF("Sync period set to %u s", sync_period_s);
}

uint32_t ble_peripheral_get_sync_period_s(void)
{
    return sync_period_s;
}

void ble_peripheral_request_gateway(bool request)
{
    pouch_gatt_adv_req_sync(&service_data, request);
    service_data_128.payload = service_data.payload;
    int err = bt_le_adv_update_data(ad, ARRAY_SIZE(ad), sd, ARRAY_SIZE(sd));
    printk("pouch: adv sync_req=%d  update_err=%d\n", (int)request, err);
}

void ble_peripheral_button_handler(void)
{
    if (default_conn) {
        printk("pouch: confirming passkey\n");
        LOG_INF("Confirming passkey");
        bt_conn_auth_passkey_confirm(default_conn);
    } else {
        printk("pouch: no BLE connection for passkey confirm\n");
        LOG_WRN("No BT connection for passkey confirmation");
    }
}

int ble_peripheral_init(void)
{
    int err = bt_enable(NULL);
    if (err) {
        printk("pouch: Bluetooth init failed (err %d)\n", err);
        LOG_ERR("Bluetooth init failed (err %d)", err);
        return err;
    }

    bt_addr_le_t id_addr;
    size_t count = 1;

    bt_id_get(&id_addr, &count);
    if (count > 0) {
        char addr[BT_ADDR_LE_STR_LEN];

        bt_addr_le_to_str(&id_addr, addr, sizeof(addr));
        printk("pouch: BLE identity %s\n", addr);
    }

    err = bt_conn_auth_cb_register(&auth_cb_display);
    if (err) {
        printk("pouch: auth callback register failed (err %d)\n", err);
        LOG_ERR("Bluetooth auth cb register failed (err %d)", err);
        return err;
    }

    return 0;
}

int ble_peripheral_start(void)
{
    pouch_gatt_adv_req_sync(&service_data, true);
    service_data_128.payload = service_data.payload;

    int err = bt_le_adv_start(BT_LE_ADV_PARAM(BT_LE_ADV_OPT_CONN | BT_LE_ADV_OPT_USE_IDENTITY,
                                              BT_GAP_ADV_FAST_INT_MIN_1,
                                              BT_GAP_ADV_FAST_INT_MAX_1,
                                              NULL),
                              ad, ARRAY_SIZE(ad), sd, ARRAY_SIZE(sd));
    if (err == -EALREADY) {
        err = bt_le_adv_update_data(ad, ARRAY_SIZE(ad), sd, ARRAY_SIZE(sd));
    }
    if (err) {
        printk("pouch: advertising start  name=%s  sync_req=1  err=%d\n",
               CONFIG_BT_DEVICE_NAME, err);
        return err;
    }

    printk("pouch: advertising  name=%s  sync_req=1  window=%u s\n",
           CONFIG_BT_DEVICE_NAME, CONFIG_EXAMPLE_ADV_WINDOW_S);
    k_work_schedule(&adv_timeout_work, K_SECONDS(CONFIG_EXAMPLE_ADV_WINDOW_S));
    k_work_schedule(&status_work, K_NO_WAIT);
    return 0;
}

void ble_peripheral_status_start(void)
{
    k_work_schedule(&status_work, K_NO_WAIT);
}
```

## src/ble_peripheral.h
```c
/*
 * Copyright (c) 2026 Golioth, Inc.
 *
 * SPDX-License-Identifier: Apache-2.0
 */
#pragma once

#include <stdint.h>
#include <stddef.h>
#include <stdbool.h>

void ble_peripheral_button_handler(void);
void ble_peripheral_request_gateway(bool request);
void ble_peripheral_set_sync_period_s(uint32_t seconds);
uint32_t ble_peripheral_get_sync_period_s(void);
int ble_peripheral_init(void);
/** Advertise with sync_req set. Stops after CONFIG_EXAMPLE_ADV_WINDOW_S if unused. */
int ble_peripheral_start(void);
void ble_peripheral_status_start(void);
/** Call when a Pouch session actually starts so a bounce will not trigger a long sleep. */
void ble_peripheral_mark_sync_ok(void);
```

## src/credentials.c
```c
/*
 * Copyright (c) 2025 Golioth, Inc.
 *
 * SPDX-License-Identifier: Apache-2.0
 */
#include <stdlib.h>
#include <zephyr/fs/fs.h>
#include <zephyr/sys/util.h>
#include <pouch/pouch.h>
#include <mbedtls/pk.h>
#include <mbedtls/psa_util.h>

#include <zephyr/logging/log.h>
LOG_MODULE_REGISTER(credentials);

#define CERT_DIR CONFIG_EXAMPLE_CREDENTIALS_DIR
#define CERT_FILE CERT_DIR "/crt.der"
#define KEY_FILE CERT_DIR "/key.der"

/** Load the raw private key data into PSA */
static psa_key_id_t import_raw_pk(const uint8_t *private_key, size_t size)
{
    mbedtls_pk_context pk;
    mbedtls_pk_init(&pk);
    int err = mbedtls_pk_parse_key(&pk, private_key, size, NULL, 0);
    if (err) {
        LOG_ERR("Failed to parse key: -0x%x", (unsigned int)-err);
        return PSA_KEY_ID_NULL;
    }

    psa_key_attributes_t attrs = PSA_KEY_ATTRIBUTES_INIT;

    psa_set_key_algorithm(&attrs, PSA_ALG_ECDH);
    psa_set_key_type(&attrs, PSA_KEY_TYPE_ECC_KEY_PAIR(PSA_ECC_FAMILY_SECP_R1));
    psa_set_key_usage_flags(&attrs, PSA_KEY_USAGE_DERIVE);

    psa_key_id_t key_id;
    err = mbedtls_pk_import_into_psa(&pk, &attrs, &key_id);
    if (err) {
        LOG_ERR("Failed to import private key: -0x%x", (unsigned int)-err);
        return PSA_KEY_ID_NULL;
    }

    return key_id;
}

static int ensure_credentials_dir(void)
{
    struct fs_dirent dirent;

    int err = fs_stat(CERT_DIR, &dirent);
    if (err == -ENOENT) {
        err = fs_mkdir(CERT_DIR);
    }

    if (err) {
        LOG_ERR("Failed to create credentials dir: %d", err);
    }

    return err;
}

int credentials_prepare(void)
{
    return ensure_credentials_dir();
}

static ssize_t get_file_size(const char *path)
{
    struct fs_dirent dirent;

    int err = fs_stat(path, &dirent);

    if (err < 0) {
        return err;
    }
    if (dirent.type != FS_DIR_ENTRY_FILE) {
        return -EISDIR;
    }

    return dirent.size;
}

static ssize_t read_file(const char *path, uint8_t **out)
{
    (void)ensure_credentials_dir();

    ssize_t size = get_file_size(path);
    if (size <= 0) {
        return size;
    }

    uint8_t *buf = malloc((size_t)size);
    if (buf == NULL) {
        return -ENOMEM;
    }

    struct fs_file_t file;
    fs_file_t_init(&file);

    int err = fs_open(&file, path, FS_O_READ);
    if (err) {
        LOG_ERR("Could not open %s, err: %d", path, err);
        free(buf);
        return err;
    }

    size = fs_read(&file, buf, (size_t)size);
    if (size < 0) {
        LOG_ERR("Could not read %s, err: %d", path, (int)size);
        free(buf);
        goto finish;
    }

    LOG_DBG("Read %d bytes from %s", (int)size, path);
    *out = buf;

finish:
    fs_close(&file);
    return size;
}

psa_key_id_t load_private_key(void)
{
    uint8_t *buf;
    ssize_t size = read_file(KEY_FILE, &buf);
    if (size < 0) {
        return PSA_KEY_ID_NULL;
    }

    psa_key_id_t key_id = import_raw_pk(buf, (size_t)size);
    free(buf);
    return key_id;
}

int load_certificate(struct pouch_cert *cert)
{
    uint8_t *buf;
    ssize_t size = read_file(CERT_FILE, &buf);
    if (size < 0) {
        return (int)size;
    }

    cert->buffer = buf;
    cert->size = (size_t)size;
    LOG_DBG("Read certificate (%d bytes)", (int)size);
    return 0;
}

void free_certificate(struct pouch_cert *cert)
{
    free((void *)cert->buffer);
}
```

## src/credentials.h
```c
/*
 * Copyright (c) 2025 Golioth, Inc.
 *
 * SPDX-License-Identifier: Apache-2.0
 */
#pragma once
#include <psa/crypto.h>
#include <pouch/types.h>

/** Create /lfs1/credentials if LittleFS is mounted. Safe to call at boot. */
int credentials_prepare(void);

psa_key_id_t load_private_key(void);
int load_certificate(struct pouch_cert *cert);
void free_certificate(struct pouch_cert *cert);
```

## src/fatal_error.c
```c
/*
 * Copyright (c) 2025 Golioth
 *
 * SPDX-License-Identifier: Apache-2.0
 */

#include <zephyr/logging/log_ctrl.h>
#include <zephyr/fatal.h>
#include <zephyr/sys/reboot.h>

#include <zephyr/logging/log.h>
LOG_MODULE_REGISTER(fatal_error);

void k_sys_fatal_error_handler(unsigned int reason, const struct arch_esf *esf)
{
    ARG_UNUSED(reason);
    ARG_UNUSED(esf);

    LOG_PANIC();
    LOG_ERR("Resetting system");
    sys_reboot(SYS_REBOOT_COLD);
}
```

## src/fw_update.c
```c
/*
 * Copyright (c) 2025 Golioth
 *
 * SPDX-License-Identifier: Apache-2.0
 */

#include <zephyr/logging/log.h>
LOG_MODULE_REGISTER(fw_update);

#include <string.h>
#include <zephyr/kernel.h>
#include <zephyr/dfu/flash_img.h>
#include <zephyr/dfu/mcuboot.h>
#include <zephyr/logging/log_ctrl.h>
#include <zephyr/storage/flash_map.h>
#include <zephyr/sys/reboot.h>

#include <golioth/ota.h>

#include <app_version.h>

static struct flash_img_context flash_context;

static void ota_fw_receive(const void *data, size_t offset, size_t len, bool is_last)
{
    LOG_DBG("Received %d bytes at offset %d", len, offset);

    int err = 0;

    if (offset == 0) {
        err = flash_img_init(&flash_context);
        if (err) {
            LOG_ERR("Failed to init flash write");
            return;
        }
    }

    err = flash_img_buffered_write(&flash_context, data, len, is_last);
    if (err) {
        LOG_ERR("Failed to write to flash: %d", err);
        return;
    }

    if (is_last) {
        err = boot_request_upgrade(BOOT_UPGRADE_PERMANENT);
        if (err) {
            LOG_ERR("Failed to request upgrade");
            return;
        }

        LOG_INF("Rebooting to apply upgrade");

#if IS_ENABLED(CONFIG_LOG)
        while (log_process()) {
        }
#endif

        k_sleep(K_SECONDS(3));
        sys_reboot(SYS_REBOOT_WARM);
    }
}

static void ota_manifest_receive(const struct golioth_ota_manifest_component *components,
                                 size_t num_components)
{
    for (size_t i = 0; i < num_components; i++) {
        LOG_DBG("Target: %s@%s, %d bytes",
                components[i].name,
                components[i].target,
                components[i].size);
        LOG_HEXDUMP_DBG(components[i].target_hash,
                        GOLIOTH_OTA_COMPONENT_HASH_BIN_LEN,
                        "Target hash:");
        if (strcmp(components[i].current, components[i].target) != 0) {
            golioth_ota_mark_for_download(components[i].name);
        }
    }
}

GOLIOTH_OTA_COMPONENT(fw, CONFIG_EXAMPLE_FW_UPDATE_COMPONENT, APP_VERSION_STRING, ota_fw_receive);
GOLIOTH_OTA_MANIFEST_HANDLER(ota_manifest_receive);
```

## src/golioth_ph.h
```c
/*
 * Copyright (c) 2026 Brian Wischmeyer
 * SPDX-License-Identifier: Apache-2.0
 */
#pragma once

int golioth_ph_init(void);
```
